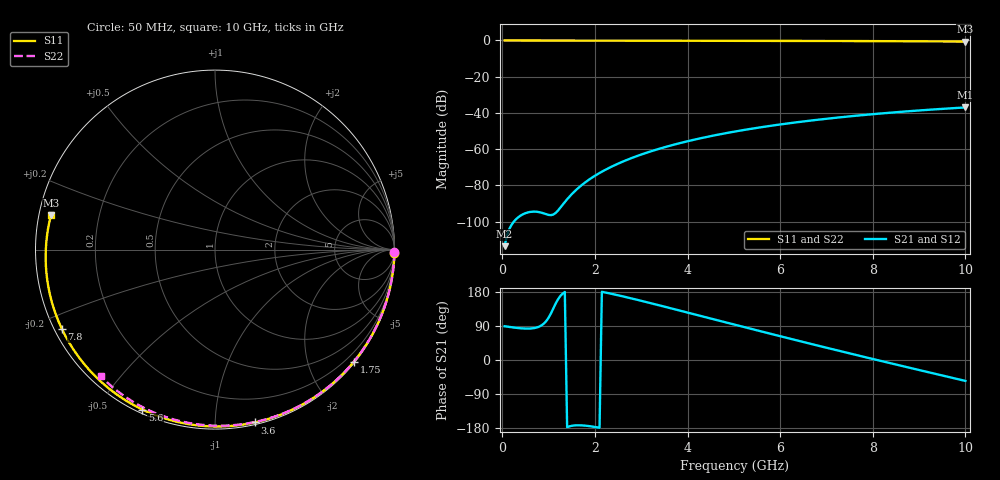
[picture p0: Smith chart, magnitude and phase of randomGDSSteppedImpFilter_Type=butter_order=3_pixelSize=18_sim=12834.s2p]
! freq	dB(S11)	phase(S11)	dB(S12)	phase(S12)
!  dB(S21)	phase(S21)	dB(S22)	phase(S22)
!S-par simulation data
#  GHz  S  DB  R 50
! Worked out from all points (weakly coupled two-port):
!   200 points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, 50 MHz to 10 GHz, reference 50 ohm
!   highest |S21| = -36.97 dB at 10 GHz (marker M1); lowest = -113.5 dB at 50 MHz (marker M2)
!   lowest |S11| = -0.6 dB at 10 GHz (marker M3), VSWR 29.29, Z = 1.73 + j5.18 ohm
!   |S11| at or under -10 dB: nowhere
!   |S22| runs from -0.4 to 0.0 dB; largest |S21 - S12| = 0
!   S11 on the Smith chart (normalised r, x): 50 MHz: open; 1.75 GHz: 0.03, -2.83; 3.6 GHz: 0.02, -1.26; 5.6 GHz: 0.02, -0.64; 7.8 GHz: 0.02, -0.24; 10 GHz: 0.03, +0.10
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0.05  -0.00 -1.1  -113.51 89.1  -113.51 89.1  -0.00 -0.8
0.45  -0.01 -10.2  -95.86 83.2  -95.86 83.2  -0.01 -6.8
0.85  -0.02 -19.1  -95.07 91.6  -95.07 91.6  -0.02 -12.9
1.25  -0.04 -28.0  -92.41 168.4  -92.41 168.4  -0.02 -18.9
1.7  -0.05 -37.8  -80.12 -172.4  -80.12 -172.4  -0.03 -25.6
1.75  -0.05 -38.9  -79.10 -172.8  -79.10 -172.8  -0.03 -26.3
2.05  -0.06 -45.3  -73.89 -177.7  -73.89 -177.7  -0.04 -30.8
2.25  -0.06 -49.6  -71.05 177.5  -71.05 177.5  -0.04 -33.7
2.45  -0.07 -53.8  -68.56 172.2  -68.56 172.2  -0.05 -36.6
2.9  -0.08 -63.1  -63.86 159.2  -63.86 159.2  -0.06 -43.1
3.4  -0.10 -73.1  -59.68 143.9  -59.68 143.9  -0.07 -50.1
3.6  -0.10 -77.1  -58.23 137.7  -58.23 137.7  -0.07 -52.9
4.3  -0.13 -90.6  -53.87 115.8  -53.87 115.8  -0.09 -62.6
5.05  -0.16 -104.5  -50.13 92.2  -50.13 92.2  -0.11 -72.6
5.6  -0.19 -114.4  -47.84 75.1  -47.84 75.1  -0.13 -79.7
6.15  -0.22 -124.1  -45.84 58.2  -45.84 58.2  -0.15 -86.7
6.7  -0.26 -133.7  -44.08 41.4  -44.08 41.4  -0.18 -93.5
7.25  -0.30 -143.1  -42.53 24.9  -42.53 24.9  -0.21 -100.2
7.8  -0.35 -152.6  -41.15 8.6  -41.15 8.6  -0.25 -106.7
8.35  -0.40 -162.1  -39.91 -7.6  -39.91 -7.6  -0.29 -113.2
9.2  -0.50 -177.1  -38.26 -32.2  -38.26 -32.2  -0.36 -122.9
10  -0.59 168.2  -36.97 -55.2  -36.97 -55.2  -0.45 -132.0
